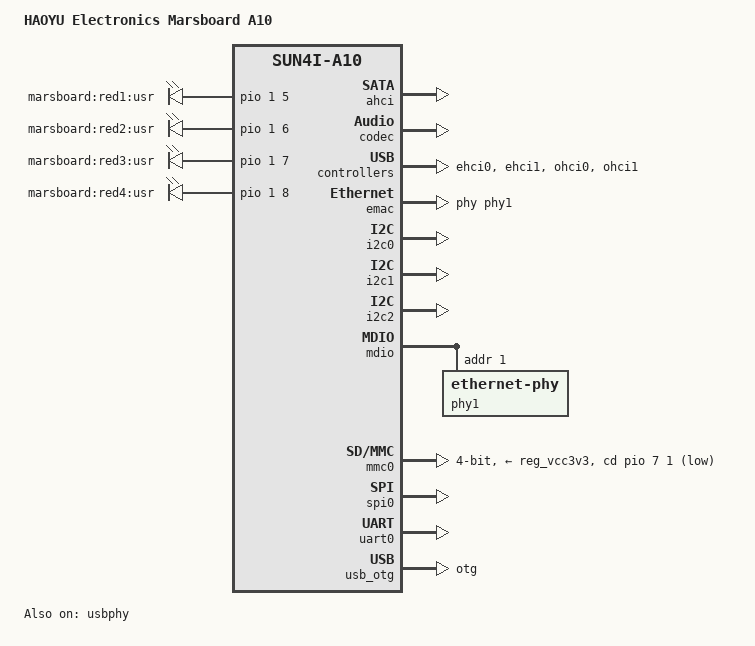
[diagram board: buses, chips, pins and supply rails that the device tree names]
/*
 * Copyright 2015 Aleksei Mamlin
 * Aleksei Mamlin <mamlinav@gmail.com>
 *
 * This file is dual-licensed: you can use it either under the terms
 * of the GPL or the X11 license, at your option. Note that this dual
 * licensing only applies to this file, and not this project as a
 * whole.
 *
 *  a) This file is free software; you can redistribute it and/or
 *     modify it under the terms of the GNU General Public License as
 *     published by the Free Software Foundation; either version 2 of the
 *     License, or (at your option) any later version.
 *
 *     This file is distributed in the hope that it will be useful,
 *     but WITHOUT ANY WARRANTY; without even the implied warranty of
 *     MERCHANTABILITY or FITNESS FOR A PARTICULAR PURPOSE.  See the
 *     GNU General Public License for more details.
 *
 * Or, alternatively,
 *
 *  b) Permission is hereby granted, free of charge, to any person
 *     obtaining a copy of this software and associated documentation
 *     files (the "Software"), to deal in the Software without
 *     restriction, including without limitation the rights to use,
 *     copy, modify, merge, publish, distribute, sublicense, and/or
 *     sell copies of the Software, and to permit persons to whom the
 *     Software is furnished to do so, subject to the following
 *     conditions:
 *
 *     The above copyright notice and this permission notice shall be
 *     included in all copies or substantial portions of the Software.
 *
 *     THE SOFTWARE IS PROVIDED "AS IS", WITHOUT WARRANTY OF ANY KIND,
 *     EXPRESS OR IMPLIED, INCLUDING BUT NOT LIMITED TO THE WARRANTIES
 *     OF MERCHANTABILITY, FITNESS FOR A PARTICULAR PURPOSE AND
 *     NONINFRINGEMENT. IN NO EVENT SHALL THE AUTHORS OR COPYRIGHT
 *     HOLDERS BE LIABLE FOR ANY CLAIM, DAMAGES OR OTHER LIABILITY,
 *     WHETHER IN AN ACTION OF CONTRACT, TORT OR OTHERWISE, ARISING
 *     FROM, OUT OF OR IN CONNECTION WITH THE SOFTWARE OR THE USE OR
 *     OTHER DEALINGS IN THE SOFTWARE.
 */

/dts-v1/;
#include "sun4i-a10.dtsi"
#include "sunxi-common-regulators.dtsi"

#include <dt-bindings/gpio/gpio.h>

/ {
	model = "HAOYU Electronics Marsboard A10";
	compatible = "haoyu,a10-marsboard", "allwinner,sun4i-a10";

	aliases {
		serial0 = &uart0;
	};

	chosen {
		stdout-path = "serial0:115200n8";
	};

	leds {
		compatible = "gpio-leds";

		red1 {
			label = "marsboard:red1:usr";
			gpios = <&pio 1 5 GPIO_ACTIVE_HIGH>;
		};

		red2 {
			label = "marsboard:red2:usr";
			gpios = <&pio 1 6 GPIO_ACTIVE_HIGH>;
		};

		red3 {
			label = "marsboard:red3:usr";
			gpios = <&pio 1 7 GPIO_ACTIVE_HIGH>;
		};

		red4 {
			label = "marsboard:red4:usr";
			gpios = <&pio 1 8 GPIO_ACTIVE_HIGH>;
		};
	};
};

&ahci {
	status = "okay";
};

&codec {
	status = "okay";
};

&ehci0 {
	status = "okay";
};

&ehci1 {
	status = "okay";
};

&emac_sram {
	status = "okay";
};

&emac {
	phy = <&phy1>;
	status = "okay";
};

&i2c0 {
	status = "okay";
};

&i2c1 {
	status = "okay";
};

&i2c2 {
	status = "okay";
};

&mdio {
	status = "okay";

	phy1: ethernet-phy@1 {
		reg = <1>;
	};
};

&mmc0 {
	vmmc-supply = <&reg_vcc3v3>;
	bus-width = <4>;
	cd-gpios = <&pio 7 1 GPIO_ACTIVE_HIGH>; /* PH1 */
	cd-inverted;
	status = "okay";
};

&ohci0 {
	status = "okay";
};

&ohci1 {
	status = "okay";
};

&otg_sram {
	status = "okay";
};

&pio {
	usb0_id_detect_pin: usb0_id_detect_pin@0 {
		pins = "PH4";
		function = "gpio_in";
		bias-pull-up;
	};
};

&reg_usb1_vbus {
	status = "okay";
};

&reg_usb2_vbus {
	status = "okay";
};

&spi0 {
	pinctrl-names = "default";
	pinctrl-0 = <&spi0_pi_pins>,
		    <&spi0_cs0_pi_pin>;
	status = "okay";
};

&uart0 {
	pinctrl-names = "default";
	pinctrl-0 = <&uart0_pb_pins>;
	status = "okay";
};

&usb_otg {
	dr_mode = "otg";
	status = "okay";
};

&usbphy {
	pinctrl-names = "default";
	pinctrl-0 = <&usb0_id_detect_pin>;
	usb0_id_det-gpio = <&pio 7 4 GPIO_ACTIVE_HIGH>; /* PH4 */
	usb1_vbus-supply = <&reg_usb1_vbus>;
	usb2_vbus-supply = <&reg_usb2_vbus>;
	status = "okay";
};
